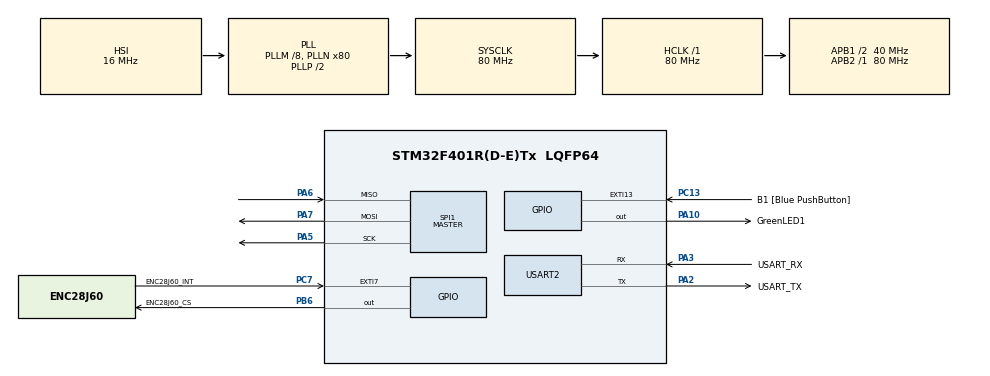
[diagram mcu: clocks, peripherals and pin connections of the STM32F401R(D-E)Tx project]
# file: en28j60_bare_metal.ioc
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Mcu.Family=STM32F4
Mcu.Name=STM32F401R(D-E)Tx
Mcu.Package=LQFP64
NVIC.EXTI15_10_IRQn=true\:0\:0\:false\:false\:true\:true\:true\:true
NVIC.EXTI9_5_IRQn=true\:0\:0\:false\:false\:true\:true\:true\:true
NVIC.PriorityGroup=NVIC_PRIORITYGROUP_0
NVIC.TIM2_IRQn=true\:0\:0\:false\:false\:true\:true\:true\:true
PA10.GPIO_Label=GreenLED1
PA10.GPIO_Speed=GPIO_SPEED_FREQ_VERY_HIGH
PA10.Signal=GPIO_Output
PA13.GPIO_Label=TMS
PA13.Signal=SYS_JTMS-SWDIO
PA14.GPIO_Label=TCK
PA14.Signal=SYS_JTCK-SWCLK
PA2.GPIO_Label=USART_TX
PA2.GPIO_Mode=GPIO_MODE_AF_PP
PA2.GPIO_PuPd=GPIO_NOPULL
PA2.GPIO_Speed=GPIO_SPEED_FREQ_LOW
PA2.Mode=Asynchronous
PA2.Signal=USART2_TX
PA3.GPIO_Label=USART_RX
PA3.GPIO_Mode=GPIO_MODE_AF_PP
PA3.GPIO_PuPd=GPIO_NOPULL
PA3.GPIO_Speed=GPIO_SPEED_FREQ_LOW
PA3.Mode=Asynchronous
PA3.Signal=USART2_RX
PA5.Mode=Full_Duplex_Master
PA5.Signal=SPI1_SCK
PA6.Mode=Full_Duplex_Master
PA6.Signal=SPI1_MISO
PA7.Mode=Full_Duplex_Master
PA7.Signal=SPI1_MOSI
PB3.GPIO_Label=SWO
PB3.Signal=SYS_JTDO-SWO
PB6.GPIO_Label=ENC28J60_CS
PB6.GPIO_Speed=GPIO_SPEED_FREQ_VERY_HIGH
PB6.PinState=GPIO_PIN_SET
PB6.Signal=GPIO_Output
PC13-ANTI_TAMP.GPIO_Label=B1 [Blue PushButton]
PC13-ANTI_TAMP.GPIO_ModeDefaultEXTI=GPIO_MODE_IT_FALLING
PC13-ANTI_TAMP.GPIO_PuPd=GPIO_NOPULL
PC13-ANTI_TAMP.Signal=GPXTI13
PC14-OSC32_IN.Signal=RCC_OSC32_IN
PC15-OSC32_OUT.Signal=RCC_OSC32_OUT
PC7.GPIO_Label=ENC28J60_INT
PC7.GPIO_ModeDefaultEXTI=GPIO_MODE_IT_FALLING
PC7.Signal=GPXTI7
PH0\ -\ OSC_IN.Signal=RCC_OSC_IN
PH1\ -\ OSC_OUT.Signal=RCC_OSC_OUT
ProjectManager.HeapSize=0x200
ProjectManager.StackSize=0x400
ProjectManager.TargetToolchain=STM32CubeIDE
RCC.48MHZClocksFreq_Value=22857142.85714286
RCC.AHBFreq_Value=80000000
RCC.APB1CLKDivider=RCC_HCLK_DIV2
RCC.APB1Freq_Value=40000000
RCC.APB1TimFreq_Value=80000000
RCC.APB2Freq_Value=80000000
RCC.APB2TimFreq_Value=80000000
RCC.CortexFreq_Value=80000000
RCC.HCLKFreq_Value=80000000
RCC.HSE_VALUE=8000000
RCC.HSI_VALUE=16000000
RCC.LSE_VALUE=32768
RCC.PLLM=8
RCC.PLLN=80
RCC.PLLQ=7
RCC.SYSCLKFreq_VALUE=80000000
RCC.SYSCLKSource=RCC_SYSCLKSOURCE_PLLCLK
RCC.VCOOutputFreq_Value=160000000
SPI1.BaudRatePrescaler=SPI_BAUDRATEPRESCALER_8
SPI1.Direction=SPI_DIRECTION_2LINES
SPI1.Mode=SPI_MODE_MASTER
SPI1.VirtualType=VM_MASTER
TIM2.Period=3999
TIM2.Prescaler=9999
USART2.VirtualMode=VM_ASYNC
VP_TIM2_VS_ClockSourceINT.Mode=Internal
board=NUCLEO-F401RE

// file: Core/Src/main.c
/* USER CODE BEGIN Header */
/**
  ******************************************************************************
  * @file           : main.c
  * @brief          : Main program body
  ******************************************************************************
  * @attention
  *
  * Copyright (c) 2025 STMicroelectronics.
  * All rights reserved.
  *
  * This software is licensed under terms that can be found in the LICENSE file
  * in the root directory of this software component.
  * If no LICENSE file comes with this software, it is provided AS-IS.
  *
  ******************************************************************************
  */
/* USER CODE END Header */
#include "main.h"

/* USER CODE BEGIN Includes */
#include "lwip/init.h"
#include "lwip/netif.h"
#include "netif/ethernet.h"
#include "lwip/dhcp.h"
#include "lwip/dns.h"
#include "lwip/etharp.h"
#include "lwip/apps/mqtt.h"
#include "lwip/apps/mqtt_priv.h"
#include "arch/sys_arch.h"
#include "lwip/timeouts.h"
#include <stdio.h>
#include <string.h>
#include <stdlib.h>

#include "../../enc28j60_driver/Inc/enc28j60_hwd.h"
#include "../../enc28j60_driver/Inc/spiHwdInterface.h"
/* USER CODE END Includes */

/* USER CODE BEGIN PTD */
typedef enum Connection_State {
	START_UP,
	DHCP_IP_RECEIVED,
	DNS_IP_OBTAINED,
	MQTT_CONNECTING,
	MQTT_CONNECTED,
	MQTT_DISCONNECTED
}Connection_State;

struct mqttBrokerDetails {
	const char * name;
	ip_addr_t ip;
	const char * user;
	const char * password;
};

struct mqttBrokerDetails mqttBroker = {
		//.name = "test.mosquitto.org",
		//.name = "broker.hivemq.com",
		.name = "broker.emqx.io",
		.ip = {0},
		.user = "",
		.password = ""
};
/* USER CODE END PTD */

SPI_HandleTypeDef hspi1;

TIM_HandleTypeDef htim2;

UART_HandleTypeDef huart2;

/* USER CODE BEGIN PV */
extern enc28j60Drv dev;

static volatile uint32_t enc28j60intCounter;
static volatile uint32_t u32FinerTimer;
static volatile uint32_t u32CoarseTimer;
static volatile uint8_t timeForDns;
static volatile uint8_t timerForEtharp;
static volatile uint32_t u32MqttCounter;
static volatile bool dnsRequest;
static struct netif my_netif;
static struct dhcp myDhcpClient;
static enum Connection_State myConn = START_UP;
static mqtt_client_t * myMqtt = NULL;
static bool bSubscribed = false;
static uint32_t rx_bytes = 0;
static uint32_t lastReconnectAttempt = 0;

/* USER CODE END PV */

void SystemClock_Config(void);
static void MX_GPIO_Init(void);
static void MX_SPI1_Init(void);
static void MX_USART2_UART_Init(void);
static void MX_TIM2_Init(void);
/* USER CODE BEGIN PFP */
err_t ethernet_init(struct netif *netif);
err_t enc28j60_translate(struct netif *netif, struct pbuf *p);
void ethernet_do_translation_to_pbub(enc28j60Drv * dev, struct pbuf *p);

static void ipObtained(const char *name, const ip_addr_t *ipaddr, void *callback_arg);
static void myMqttClientCallBack(mqtt_client_t *client, void *arg, mqtt_connection_status_t status);
static void publishIncoming(void *arg, const char *topic, u32_t tot_len);
static void mqtt_data_cb(void *arg, const u8_t *data, u16_t len, u8_t flags);
/* USER CODE END PFP */

int main(void)
{

  /* MCU Configuration--------------------------------------------------------*/

  /* Reset of all peripherals, Initializes the Flash interface and the Systick. */
  HAL_Init();

  /* Configure the system clock */
  SystemClock_Config();

  /* Initialize all configured peripherals */
  MX_GPIO_Init();
  MX_SPI1_Init();
  MX_USART2_UART_Init();
  MX_TIM2_Init();
  /* USER CODE BEGIN 2 */

  HAL_TIM_Base_Start_IT(&htim2);

  enc28j60_initDr(&dev, spi1ChipSelect, spi1ChipDeSelect, spi1Read, spi1Write, NULL, delayMsFunction);
  enc28j60_strtDr(&dev);

  lwip_init();

  // Add network interface
  netif_add_noaddr(&my_netif, NULL, ethernet_init, ethernet_input);
  netif_set_addr(&my_netif, IP4_ADDR_ANY, IP4_ADDR_ANY, IP4_ADDR_ANY);

  // Set the interface as the default
  netif_set_default(&my_netif);

  // Bring up the interface
  netif_set_up(&my_netif);

  uint32_t u32PacketCounter = 0;

  dhcp_set_struct(&my_netif, &myDhcpClient);
  dhcp_start(&my_netif);

  bool enableDns = false;
  myMqtt = (mqtt_client_t *) mqtt_client_new();

  if(!myMqtt) while(1);

  static const struct mqtt_connect_client_info_t myInfo =
  {
      .client_id = "mqtt-nestor-kalambay",
      .client_user = NULL,
      .client_pass = NULL,

      .keep_alive = 60,

      .will_topic = NULL,
      .will_msg = "offline",
      .will_msg_len = 7,
      .will_qos = 0,
      .will_retain = 0
  };

  /* USER CODE END 2 */

  /* Infinite loop */
  /* USER CODE BEGIN WHILE */
  while (1)
  {
	  if(u32FinerTimer >= 1) {
		  u32FinerTimer = 0;
		  dhcp_fine_tmr();
		  HAL_GPIO_TogglePin(GreenLED1_GPIO_Port, GreenLED1_Pin);
	  }

	  if(u32CoarseTimer >= 120) {
		  u32CoarseTimer = 0;
		  dhcp_coarse_tmr();
	  }

	  if(timeForDns >= 2 && enableDns == true) {
		  timeForDns = 0;
		  dns_tmr();
	  }

	  if(timerForEtharp >= 2) {
		  timerForEtharp = 0;
		  etharp_tmr();
	  }

	  sys_check_timeouts();

	  switch(myConn) {
	  case START_UP:
		  if(dhcp_supplied_address(&my_netif)) {

			  dns_init();
			  ip_addr_t dnsServer;
			  IP4_ADDR(&dnsServer, 8, 8, 8, 8);
			  dns_setserver(0, &dnsServer);

			  ip_addr_t mosquitoIp;
			  dns_gethostbyname(mqttBroker.name, &mosquitoIp, ipObtained, NULL);

			  enableDns = true;
			  myConn = DHCP_IP_RECEIVED;
		  }
		  break;
	  case DHCP_IP_RECEIVED:

		  break;
	  case MQTT_DISCONNECTED:
	  case DNS_IP_OBTAINED:
		    if(sys_now() - lastReconnectAttempt > 3000) {
		        lastReconnectAttempt = sys_now();
		        if(ERR_OK == mqtt_client_connect(myMqtt, &mqttBroker.ip, 1883,
		                                         myMqttClientCallBack,
		                                         (void *) &myConn,
		                                         &myInfo))
		        {
		            myConn = MQTT_CONNECTING;
		            bSubscribed = false;
		        }
		    }
		  break;
	  case MQTT_CONNECTING:
		  if(mqtt_client_is_connected(myMqtt) == 1) {

		  }
		  break;

	  case MQTT_CONNECTED:
		  if(u32MqttCounter >= 10) {
			  u32MqttCounter = 0;
			  const char* message = "This message is coming from an alien who just landed in south Africa";
			  (void) mqtt_publish(myMqtt, "franzkafka", message, strlen(message), 0, 0, NULL, NULL);
		  }

		  if(bSubscribed == false) {
			  bSubscribed = true;
			  mqtt_set_inpub_callback(myMqtt, publishIncoming, mqtt_data_cb, NULL);
			  //mqtt_subscribe(myMqtt, "$SYS/broker/uptime", 0, NULL, NULL);
			  mqtt_subscribe(myMqtt, "franzkafka", 0, NULL, NULL);
		  }
		  break;
	  }

	  if(enc28j60intCounter > 0
			  || HAL_GPIO_ReadPin(ENC28J60_INT_GPIO_Port, ENC28J60_INT_Pin) == GPIO_PIN_RESET) {
		  //Process the packet then decrement by one. The ISR also writes the counter, so do it with IRQs masked.
		  __disable_irq();
		  if(enc28j60intCounter > 0) enc28j60intCounter--;
		  __enable_irq();

		  uint8_t u8Value = 0;
		  u8Value = enc28j60_readEtherReg(&dev, dev.bank0.commonRegs.EIR);
		  dMesgPrint(DEBUG_INFO, "EIR REG --> %u\r\n", u8Value);

		  for (uint8_t cnt = 0; cnt < 8; cnt++) {
			if (u8Value & (1 << cnt)) {
				//Allow for further interrupts to happen by making the pin go back high
				enc28j60_global_int_Clear(&dev);

				switch (cnt) {
				default:
					break;
				case 0:
					dMesgPrint(DEBUG_ERROR, "1) Receive Error Interrupt Flag bit\r\n");
					enc28j60_clear_interrupt(&dev, RXERIF);
					break;

				case 1:
					dMesgPrint(DEBUG_ERROR, "2) Transmit Error Interrupt Flag bit\r\n");
					enc28j60_clear_interrupt(&dev, TXERIF);
					break;

				case 2:
					dMesgPrint(DEBUG_INFO, "3) WOL Interrupt Flag bit\r\n");
					//enc28j60_clear_interrupt(&dev, WOLIF);
					break;

				case 3:
					dMesgPrint(DEBUG_INFO, "4) Transmit Interrupt Flag bit\r\n");
					enc28j60_clear_interrupt(&dev, TXIF);
					break;

				case 4:
					dMesgPrint(DEBUG_INFO, "5) Link Change Interrupt Flag bit\r\n");
					enc28j60_link_change_int_clear(&dev);
					if(enc28j60_getPhyLinkStatus(&dev)) {
						netif_set_link_up(&my_netif);
					} else {
						netif_set_link_down(&my_netif);
					}
					break;

				case 5:
					dMesgPrint(DEBUG_INFO, "5) DMA Interrupt Flag bit\r\n");
					enc28j60_clear_interrupt(&dev, DMAIF);
					break;

				case 6:
					//Handled below from EPKTCNT (errata: PKTIF is unreliable).
					break;
				}

				//Clear the global interrupt bit.
				enc28j60_global_Int_Set(&dev);

				}
			}

		  //Drain every pending packet. The driver frees the slot and decrements EPKTCNT itself.
		  enc28j60_global_int_Clear(&dev);
		  for(uint8_t pending = enc28j60_getPacketCount(&dev); pending > 0; pending--) {
			  if(enc28j60_etherReceive(&dev) == true) {
				  dMesgPrint(DEBUG_INFO, "PKT number %d, length %d\r\n", u32PacketCounter++, dev.rxPkt.rxPktLen.u16PktLen);
				  struct pbuf * ethBuffer = pbuf_alloc(PBUF_RAW, dev.rxPkt.rxPktLen.u16PktLen, PBUF_POOL);
				  if(ethBuffer != NULL) {
					  ethernet_do_translation_to_pbub(&dev, ethBuffer);
					  if (netif_input(ethBuffer, &my_netif) != ERR_OK) {
						  pbuf_free(ethBuffer);
					  }
				  }
			  } else if(dev.rxPkt.rxPktLen.u16PktLen == 0 && enc28j60_getPacketCount(&dev) == 0) {
				  break; //RX was reset
			  }
		  }
		  enc28j60_global_Int_Set(&dev);
	  }

    /* USER CODE END WHILE */

  }
}

void SystemClock_Config(void)
{
  RCC_OscInitTypeDef RCC_OscInitStruct = {0};
  RCC_ClkInitTypeDef RCC_ClkInitStruct = {0};

  /** Configure the main internal regulator output voltage
  */
  __HAL_RCC_PWR_CLK_ENABLE();
  __HAL_PWR_VOLTAGESCALING_CONFIG(PWR_REGULATOR_VOLTAGE_SCALE2);

  /** Initializes the RCC Oscillators according to the specified parameters
  * in the RCC_OscInitTypeDef structure.
  */
  RCC_OscInitStruct.OscillatorType = RCC_OSCILLATORTYPE_HSI;
  RCC_OscInitStruct.HSIState = RCC_HSI_ON;
  RCC_OscInitStruct.HSICalibrationValue = RCC_HSICALIBRATION_DEFAULT;
  RCC_OscInitStruct.PLL.PLLState = RCC_PLL_ON;
  RCC_OscInitStruct.PLL.PLLSource = RCC_PLLSOURCE_HSI;
  RCC_OscInitStruct.PLL.PLLM = 8;
  RCC_OscInitStruct.PLL.PLLN = 80;
  RCC_OscInitStruct.PLL.PLLP = RCC_PLLP_DIV2;
  RCC_OscInitStruct.PLL.PLLQ = 7;
  if (HAL_RCC_OscConfig(&RCC_OscInitStruct) != HAL_OK)
  {
    Error_Handler();
  }

  /** Initializes the CPU, AHB and APB buses clocks
  */
  RCC_ClkInitStruct.ClockType = RCC_CLOCKTYPE_HCLK|RCC_CLOCKTYPE_SYSCLK
                              |RCC_CLOCKTYPE_PCLK1|RCC_CLOCKTYPE_PCLK2;
  RCC_ClkInitStruct.SYSCLKSource = RCC_SYSCLKSOURCE_PLLCLK;
  RCC_ClkInitStruct.AHBCLKDivider = RCC_SYSCLK_DIV1;
  RCC_ClkInitStruct.APB1CLKDivider = RCC_HCLK_DIV2;
  RCC_ClkInitStruct.APB2CLKDivider = RCC_HCLK_DIV1;

  if (HAL_RCC_ClockConfig(&RCC_ClkInitStruct, FLASH_LATENCY_2) != HAL_OK)
  {
    Error_Handler();
  }
}

static void MX_SPI1_Init(void)
{

  /* SPI1 parameter configuration*/
  hspi1.Instance = SPI1;
  hspi1.Init.Mode = SPI_MODE_MASTER;
  hspi1.Init.Direction = SPI_DIRECTION_2LINES;
  hspi1.Init.DataSize = SPI_DATASIZE_8BIT;
  hspi1.Init.CLKPolarity = SPI_POLARITY_LOW;
  hspi1.Init.CLKPhase = SPI_PHASE_1EDGE;
  hspi1.Init.NSS = SPI_NSS_SOFT;
  hspi1.Init.BaudRatePrescaler = SPI_BAUDRATEPRESCALER_8;
  hspi1.Init.FirstBit = SPI_FIRSTBIT_MSB;
  hspi1.Init.TIMode = SPI_TIMODE_DISABLE;
  hspi1.Init.CRCCalculation = SPI_CRCCALCULATION_DISABLE;
  hspi1.Init.CRCPolynomial = 10;
  if (HAL_SPI_Init(&hspi1) != HAL_OK)
  {
    Error_Handler();
  }

}

static void MX_TIM2_Init(void)
{

  TIM_ClockConfigTypeDef sClockSourceConfig = {0};
  TIM_MasterConfigTypeDef sMasterConfig = {0};

  htim2.Instance = TIM2;
  htim2.Init.Prescaler = 9999;
  htim2.Init.CounterMode = TIM_COUNTERMODE_UP;
  htim2.Init.Period = 3999;
  htim2.Init.ClockDivision = TIM_CLOCKDIVISION_DIV1;
  htim2.Init.AutoReloadPreload = TIM_AUTORELOAD_PRELOAD_DISABLE;
  if (HAL_TIM_Base_Init(&htim2) != HAL_OK)
  {
    Error_Handler();
  }
  sClockSourceConfig.ClockSource = TIM_CLOCKSOURCE_INTERNAL;
  if (HAL_TIM_ConfigClockSource(&htim2, &sClockSourceConfig) != HAL_OK)
  {
    Error_Handler();
  }
  sMasterConfig.MasterOutputTrigger = TIM_TRGO_RESET;
  sMasterConfig.MasterSlaveMode = TIM_MASTERSLAVEMODE_DISABLE;
  if (HAL_TIMEx_MasterConfigSynchronization(&htim2, &sMasterConfig) != HAL_OK)
  {
    Error_Handler();
  }

}

static void MX_USART2_UART_Init(void)
{

  huart2.Instance = USART2;
  huart2.Init.BaudRate = 115200;
  huart2.Init.WordLength = UART_WORDLENGTH_8B;
  huart2.Init.StopBits = UART_STOPBITS_1;
  huart2.Init.Parity = UART_PARITY_NONE;
  huart2.Init.Mode = UART_MODE_TX_RX;
  huart2.Init.HwFlowCtl = UART_HWCONTROL_NONE;
  huart2.Init.OverSampling = UART_OVERSAMPLING_16;
  if (HAL_UART_Init(&huart2) != HAL_OK)
  {
    Error_Handler();
  }

}

static void MX_GPIO_Init(void)
{
  GPIO_InitTypeDef GPIO_InitStruct = {0};

  /* GPIO Ports Clock Enable */
  __HAL_RCC_GPIOC_CLK_ENABLE();
  __HAL_RCC_GPIOH_CLK_ENABLE();
  __HAL_RCC_GPIOA_CLK_ENABLE();
  __HAL_RCC_GPIOB_CLK_ENABLE();

  /*Configure GPIO pin Output Level */
  HAL_GPIO_WritePin(GreenLED1_GPIO_Port, GreenLED1_Pin, GPIO_PIN_RESET);

  /*Configure GPIO pin Output Level */
  HAL_GPIO_WritePin(ENC28J60_CS_GPIO_Port, ENC28J60_CS_Pin, GPIO_PIN_SET);

  /*Configure GPIO pins : B1_Pin ENC28J60_INT_Pin */
  GPIO_InitStruct.Pin = B1_Pin|ENC28J60_INT_Pin;
  GPIO_InitStruct.Mode = GPIO_MODE_IT_FALLING;
  GPIO_InitStruct.Pull = GPIO_NOPULL;
  HAL_GPIO_Init(GPIOC, &GPIO_InitStruct);

  /*Configure GPIO pin : GreenLED1_Pin */
  GPIO_InitStruct.Pin = GreenLED1_Pin;
  GPIO_InitStruct.Mode = GPIO_MODE_OUTPUT_PP;
  GPIO_InitStruct.Pull = GPIO_NOPULL;
  GPIO_InitStruct.Speed = GPIO_SPEED_FREQ_VERY_HIGH;
  HAL_GPIO_Init(GreenLED1_GPIO_Port, &GPIO_InitStruct);

  /*Configure GPIO pin : ENC28J60_CS_Pin */
  GPIO_InitStruct.Pin = ENC28J60_CS_Pin;
  GPIO_InitStruct.Mode = GPIO_MODE_OUTPUT_PP;
  GPIO_InitStruct.Pull = GPIO_NOPULL;
  GPIO_InitStruct.Speed = GPIO_SPEED_FREQ_VERY_HIGH;
  HAL_GPIO_Init(ENC28J60_CS_GPIO_Port, &GPIO_InitStruct);

  /* EXTI interrupt init*/
  HAL_NVIC_SetPriority(EXTI9_5_IRQn, 0, 0);
  HAL_NVIC_EnableIRQ(EXTI9_5_IRQn);

  HAL_NVIC_SetPriority(EXTI15_10_IRQn, 0, 0);
  HAL_NVIC_EnableIRQ(EXTI15_10_IRQn);

}

/* USER CODE BEGIN 4 */

void HAL_GPIO_EXTI_Callback(uint16_t GPIO_Pin)
{
	if(GPIO_Pin == GPIO_PIN_7)
	{
		//send a notification to the task
		enc28j60intCounter++;
	}
}

void HAL_TIM_PeriodElapsedCallback(TIM_HandleTypeDef *htim)
{
  /* USER CODE BEGIN Callback 0 */

  /* USER CODE END Callback 0 */
  if (htim->Instance == TIM1)
  {

  }
  /* USER CODE BEGIN Callback 1 */
  else if (htim->Instance == TIM2)
  {
	  u32FinerTimer++;
	  u32CoarseTimer++;
	  timeForDns++;
	  u32MqttCounter++;
	  timerForEtharp++;
	  sys_now_increment();
  }

  /* USER CODE END Callback 1 */
}
err_t ethernet_init(struct netif *netif) {
	netif->name[0] = 'e';
	netif->name[1] = 'n';
	//
	netif->flags |= NETIF_FLAG_BROADCAST | NETIF_FLAG_ETHARP \
			| NETIF_FLAG_IGMP \
			| NETIF_FLAG_LINK_UP;
	netif->mtu = 1500;
	netif->output = etharp_output;
	netif->linkoutput = enc28j60_translate;
	netif->hwaddr_len = ETH_HWADDR_LEN;
	netif_set_hostname(netif, "enc28j60_feytech");
	for(uint8_t i = 0; i < 6; i++)
	{
		netif->hwaddr[i] =  dev.mac.macSrcAddr[5-i];
	}
	return ERR_OK;
}

err_t enc28j60_translate(struct netif *netif, struct pbuf *p) {
	struct pbuf *q;
	uint16_t total_len = p->tot_len;
	uint16_t offset = 0;

	if (total_len > sizeof(dev.txPkt.data)) {
		dMesgPrint(DEBUG_ERROR, "TX frame too long: %u\r\n", total_len);
		return ERR_BUF;
	}

	/* Copy the full chained pbuf into linear ENC buffer */
	for (q = p; q != NULL; q = q->next)
	{
		memcpy(&dev.txPkt.data[offset], q->payload, q->len);
		offset += q->len;
	}

	/* Safety: offset must equal total length */
	if (offset != total_len) {
		return ERR_BUF;
	}

	/* The driver waits for the previous frame (ECON1.TXRTS) instead of dropping this one */
	return enc28j60_etherTransmit(&dev, dev.txPkt.data, total_len) ? ERR_OK : ERR_IF;
}

void ethernet_do_translation_to_pbub(enc28j60Drv * dev, struct pbuf *p) {
	uint16_t len = dev->rxPkt.rxPktLen.u16PktLen;
    if (len > p->tot_len) len = p->tot_len;
	pbuf_take(p, dev->rxPkt.data, len);
}

static void ipObtained(const char *name, const ip_addr_t *ipaddr, void *callback_arg) {
	if(strcmp(mqttBroker.name, name) == 0) {
		mqttBroker.ip = *ipaddr;
		myConn = DNS_IP_OBTAINED;
	}
}

static void myMqttClientCallBack(mqtt_client_t *client, void *arg, mqtt_connection_status_t status) {
	enum Connection_State * ptr = (enum Connection_State * ) arg;
	if(client == myMqtt) {
		switch(status) {
		case MQTT_CONNECT_ACCEPTED:
 			*ptr = (enum Connection_State) MQTT_CONNECTED;
			break;
		case MQTT_CONNECT_DISCONNECTED:
			*ptr = (enum Connection_State) MQTT_DISCONNECTED;
			break;
		default:
			while(1);
			break;
		}
	}
}

static void mqtt_data_cb(void *arg, const u8_t *data, u16_t len, u8_t flags)
{
    rx_bytes += len;

    if(flags & MQTT_DATA_FLAG_LAST)
    {
        dMesgPrint(DEBUG_INFO, "MQTT message complete: %lu bytes\r\n", rx_bytes);
        rx_bytes = 0;
    }
}

static void publishIncoming(void *arg, const char *topic, u32_t tot_len) {
	dMesgPrint(DEBUG_INFO, "Data arrived on %s\r\n", topic);
}
/* USER CODE END 4 */

void Error_Handler(void)
{
  __disable_irq();
  while (1)
  {
  }
}
